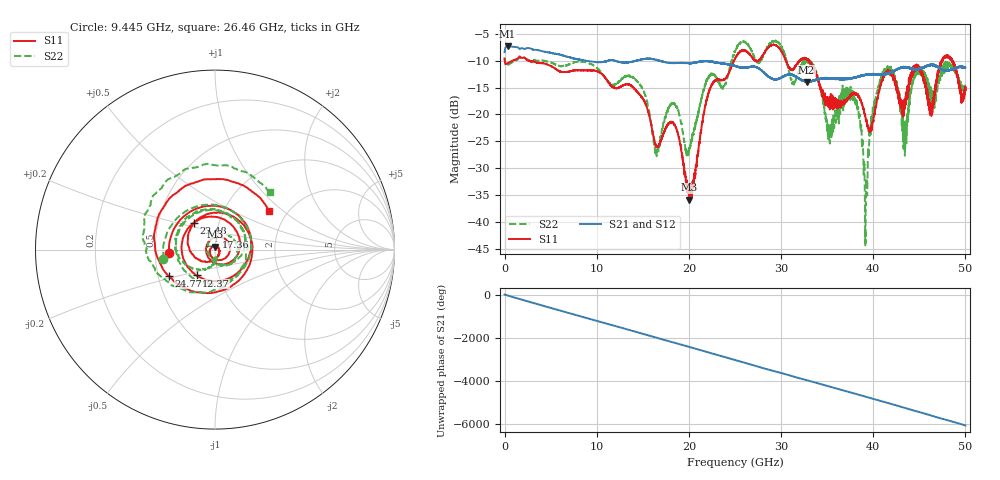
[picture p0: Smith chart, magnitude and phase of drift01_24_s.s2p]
!Created with skrf (http://scikit-rf.org).
# Hz S RI R 50.0
!freq ReS11 ImS11 ReS21 ImS21 ReS12 ImS12 ReS22 ImS22
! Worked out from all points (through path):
!   10001 points, 300 kHz to 50 GHz, reference 50 ohm
!   highest |S21| = -7.33 dB at 325.3 MHz (marker M1); lowest = -14.0 dB at 32.77 GHz (marker M2)
!   group delay of S21, straight-line fit = 335 ps
!   lowest |S11| = -35.8 dB at 20.01 GHz (marker M3), VSWR 1.03, Z = 49.8 + j1.6 ohm
!   |S11| at or under -10 dB: 2.554 GHz to 24.9 GHz (22.35 GHz wide, 163 % of centre); 30.51 GHz to 32.02 GHz (1.512 GHz wide, 4.84 % of centre); 33.07 GHz to 47.44 GHz (14.37 GHz wide, 35.7 % of centre) (the widest 3 of 20)
!   |S22| runs from -44.5 to -6.3 dB; largest |S21 - S12| = 0.0089
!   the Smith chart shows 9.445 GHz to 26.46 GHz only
!   S11 on the Smith chart (normalised r, x): 9.445 GHz: 0.59, -0.02; 12.37 GHz: 0.78, -0.23; 17.36 GHz: 1.00, +0.14; 22.48 GHz: 0.76, +0.23; 24.77 GHz: 0.57, -0.18; 26.46 GHz: 1.63, +0.80
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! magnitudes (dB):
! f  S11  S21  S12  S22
! 300 kHz  -9.6  -8.4  -8.5  -9.5
! 325.3 MHz  -10.5  -7.3  -7.3  -10.9
! 8.335 GHz  -11.8  -9.9  -9.9  -10.2
! 9.445 GHz  -11.8  -10.2  -10.2  -10.7
! 12.37 GHz  -15.0  -10.2  -10.2  -13.9
! 16.67 GHz  -26.1  -10.0  -10.0  -27.1
! 17.36 GHz  -23.1  -10.3  -10.2  -20.9
! 20.01 GHz  -35.8  -10.5  -10.5  -26.8
! 22.48 GHz  -14.5  -10.2  -10.2  -12.6
! 24.77 GHz  -10.6  -10.9  -10.9  -9.2
! 25 GHz  -9.6  -11.0  -11.0  -8.3
! 26.46 GHz  -8.6  -11.2  -11.2  -7.2
! 32.77 GHz  -9.8  -14.0  -13.9  -10.2
! 33.34 GHz  -10.8  -13.8  -13.8  -10.5
! 35.23 GHz  -16.9  -13.3  -13.3  -22.7
! 37.99 GHz  -16.0  -13.2  -13.2  -17.5
! 39.17 GHz  -20.6  -12.7  -12.6  -40.9
! 40.14 GHz  -20.0  -12.5  -12.5  -18.0
! 41.67 GHz  -12.1  -12.3  -12.3  -11.3
! 43.39 GHz  -17.3  -11.3  -11.2  -22.4
! 44.82 GHz  -11.3  -11.6  -11.6  -12.3
! 50 GHz  -15.5  -11.4  -11.4  -14.9
